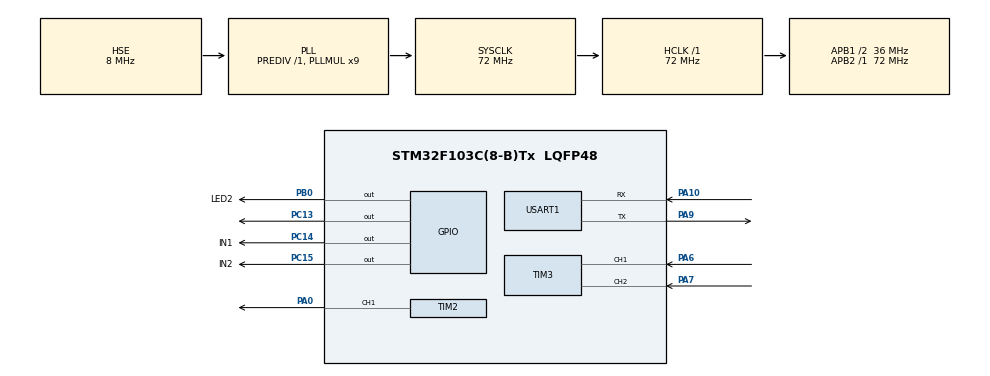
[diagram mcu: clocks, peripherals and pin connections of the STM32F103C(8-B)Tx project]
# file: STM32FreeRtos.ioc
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FREERTOS.BinarySemaphores01=ledSem,Dynamic,NULL,Depleted
FREERTOS.Mutexes01=uartMutex,Dynamic,NULL,Available
FREERTOS.Queues01=ledQueue,8,uint32_t,0,Dynamic,NULL,NULL
FREERTOS.Tasks01=defaultTask,1,128,StartDefaultTask,Default,NULL,Dynamic,NULL,NULL;Led2Task,0,128,StartLed2Task,Default,NULL,Dynamic,NULL,NULL
Mcu.Family=STM32F1
Mcu.Name=STM32F103C(8-B)Tx
Mcu.Package=LQFP48
NVIC.PriorityGroup=NVIC_PRIORITYGROUP_4
PA0-WKUP.Signal=S_TIM2_CH1_ETR
PA10.Mode=Asynchronous
PA10.Signal=USART1_RX
PA13.Mode=Serial_Wire
PA13.Signal=SYS_JTMS-SWDIO
PA14.Mode=Serial_Wire
PA14.Signal=SYS_JTCK-SWCLK
PA6.Signal=S_TIM3_CH1
PA7.Signal=S_TIM3_CH2
PA9.Mode=Asynchronous
PA9.Signal=USART1_TX
PB0.GPIO_Label=LED2
PB0.Signal=GPIO_Output
PC13-TAMPER-RTC.Signal=GPIO_Output
PC14-OSC32_IN.GPIO_Label=IN1
PC14-OSC32_IN.Signal=GPIO_Output
PC15-OSC32_OUT.GPIO_Label=IN2
PC15-OSC32_OUT.Signal=GPIO_Output
PD0-OSC_IN.Mode=HSE-External-Oscillator
PD0-OSC_IN.Signal=RCC_OSC_IN
PD1-OSC_OUT.Mode=HSE-External-Oscillator
PD1-OSC_OUT.Signal=RCC_OSC_OUT
ProjectManager.HeapSize=0x200
ProjectManager.StackSize=0x400
ProjectManager.TargetToolchain=MDK-ARM V5.32
RCC.AHBFreq_Value=72000000
RCC.APB1CLKDivider=RCC_HCLK_DIV2
RCC.APB1Freq_Value=36000000
RCC.APB1TimFreq_Value=72000000
RCC.APB2Freq_Value=72000000
RCC.APB2TimFreq_Value=72000000
RCC.HCLKFreq_Value=72000000
RCC.PLLMUL=RCC_PLL_MUL9
RCC.PLLSourceVirtual=RCC_PLLSOURCE_HSE
RCC.SYSCLKFreq_VALUE=72000000
RCC.SYSCLKSource=RCC_SYSCLKSOURCE_PLLCLK
RCC.USBFreq_Value=72000000
SH.S_TIM2_CH1_ETR.0=TIM2_CH1,PWM Generation1 CH1
SH.S_TIM3_CH1.0=TIM3_CH1,Encoder_Interface
SH.S_TIM3_CH2.0=TIM3_CH2,Encoder_Interface
TIM2.Channel-PWM\ Generation1\ CH1=TIM_CHANNEL_1
TIM2.Period=449
TIM2.Prescaler=7
TIM2.Pulse-PWM\ Generation1\ CH1=500
TIM3.EncoderMode=TIM_ENCODERMODE_TI12
USART1.VirtualMode=VM_ASYNC
VP_FREERTOS_VS_CMSIS_V1.Mode=CMSIS_V1
VP_TIM2_VS_ClockSourceINT.Mode=Internal
board=custom

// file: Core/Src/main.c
/* USER CODE BEGIN Header */
/**
  ******************************************************************************
  * @file           : main.c
  * @brief          : Main program body
  ******************************************************************************
  * @attention
  *
  * Copyright (c) 2026 STMicroelectronics.
  * All rights reserved.
  *
  * This software is licensed under terms that can be found in the LICENSE file
  * in the root directory of this software component.
  * If no LICENSE file comes with this software, it is provided AS-IS.
  *
  ******************************************************************************
  */
/* USER CODE END Header */
#include "main.h"
#include "cmsis_os.h"
#include "tim.h"
#include "usart.h"
#include "gpio.h"

void SystemClock_Config(void);
void MX_FREERTOS_Init(void);

int main(void)
{

  /* MCU Configuration--------------------------------------------------------*/

  /* Reset of all peripherals, Initializes the Flash interface and the Systick. */
  HAL_Init();

  /* Configure the system clock */
  SystemClock_Config();

  /* Initialize all configured peripherals */
  MX_GPIO_Init();
  MX_USART1_UART_Init();
  MX_TIM2_Init();
  MX_TIM3_Init();

  /* Call init function for freertos objects (in cmsis_os2.c) */
  MX_FREERTOS_Init();

  /* Start scheduler */
  osKernelStart();

  /* We should never get here as control is now taken by the scheduler */

  /* Infinite loop */
  while (1)
  {

    /* USER CODE BEGIN 3 */
    HAL_GPIO_TogglePin(GPIOC,GPIO_PIN_13); //电平置反
    HAL_Delay(500);
  }
  /* USER CODE END 3 */
}

void SystemClock_Config(void)
{
  RCC_OscInitTypeDef RCC_OscInitStruct = {0};
  RCC_ClkInitTypeDef RCC_ClkInitStruct = {0};

  /** Initializes the RCC Oscillators according to the specified parameters
  * in the RCC_OscInitTypeDef structure.
  */
  RCC_OscInitStruct.OscillatorType = RCC_OSCILLATORTYPE_HSE;
  RCC_OscInitStruct.HSEState = RCC_HSE_ON;
  RCC_OscInitStruct.HSEPredivValue = RCC_HSE_PREDIV_DIV1;
  RCC_OscInitStruct.HSIState = RCC_HSI_ON;
  RCC_OscInitStruct.PLL.PLLState = RCC_PLL_ON;
  RCC_OscInitStruct.PLL.PLLSource = RCC_PLLSOURCE_HSE;
  RCC_OscInitStruct.PLL.PLLMUL = RCC_PLL_MUL9;
  if (HAL_RCC_OscConfig(&RCC_OscInitStruct) != HAL_OK)
  {
    Error_Handler();
  }

  /** Initializes the CPU, AHB and APB buses clocks
  */
  RCC_ClkInitStruct.ClockType = RCC_CLOCKTYPE_HCLK|RCC_CLOCKTYPE_SYSCLK
                              |RCC_CLOCKTYPE_PCLK1|RCC_CLOCKTYPE_PCLK2;
  RCC_ClkInitStruct.SYSCLKSource = RCC_SYSCLKSOURCE_PLLCLK;
  RCC_ClkInitStruct.AHBCLKDivider = RCC_SYSCLK_DIV1;
  RCC_ClkInitStruct.APB1CLKDivider = RCC_HCLK_DIV2;
  RCC_ClkInitStruct.APB2CLKDivider = RCC_HCLK_DIV1;

  if (HAL_RCC_ClockConfig(&RCC_ClkInitStruct, FLASH_LATENCY_2) != HAL_OK)
  {
    Error_Handler();
  }
}

void Error_Handler(void)
{
  __disable_irq();
  while (1)
  {
  }
}

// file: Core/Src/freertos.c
/* USER CODE BEGIN Header */
/**
  ******************************************************************************
  * File Name          : freertos.c
  * Description        : Code for freertos applications
  ******************************************************************************
  * @attention
  *
  * Copyright (c) 2026 STMicroelectronics.
  * All rights reserved.
  *
  * This software is licensed under terms that can be found in the LICENSE file
  * in the root directory of this software component.
  * If no LICENSE file comes with this software, it is provided AS-IS.
  *
  ******************************************************************************
  */
/* USER CODE END Header */

#include "FreeRTOS.h"
#include "task.h"
#include "main.h"
#include "cmsis_os.h"

/* USER CODE BEGIN Includes */
#include "usart.h"
#include "tim.h"
#include <stdio.h>
#include <string.h>
/* USER CODE END Includes */

/* USER CODE BEGIN PD */
//电机控制参数
#define ENCODER_CPR 2496  //编码器输出轴每圈计数（13PRR*4倍频*48减速比）
#define SAMPLING_MS 5     //采样周期5ms

#define RPM_FACTOR (60000/SAMPLING_MS)  //转圈系数 = 60000/采样ms

#define PWM_PERIOD 449  //TIM计数上限（占空比0-449）
#define PWM_BASE 350    //速度环前馈base

#define SPEED_LIMIT 200.0f    //位置环输出限幅|200rpm|
#define INTEGRAL_LIMIT 150.0f //积分限幅（防饱和）

#define POS_KP 40.0f      //位置环P(误差1°-40rpm)
#define POS_DEADBAND 5.0f //位置死区|5|
#define POS_KD  0.3f   // 位置环 D 系数

#define SPEED_KP 0.5f   //速度环P
#define SPEED_KI 0.005f //速度环I

/* USER CODE END PD */

osThreadId defaultTaskHandle;
osThreadId Led2TaskHandle;
osMessageQId ledQueueHandle;
osMutexId uartMutexHandle;
osSemaphoreId ledSemHandle;

/* USER CODE BEGIN FunctionPrototypes */
static float   pos_control(float pos_error, float rpm, int *stop);
static int32_t speed_control(float target_speed, float rpm, float *integral);
static void    motor_set_direction(int forward);
/* USER CODE END FunctionPrototypes */

void StartDefaultTask(void const * argument);
void StartLed2Task(void const * argument);

void MX_FREERTOS_Init(void); /* (MISRA C 2004 rule 8.1) */

/* GetIdleTaskMemory prototype (linked to static allocation support) */
void vApplicationGetIdleTaskMemory( StaticTask_t **ppxIdleTaskTCBBuffer, StackType_t **ppxIdleTaskStackBuffer, uint32_t *pulIdleTaskStackSize );

/* USER CODE BEGIN GET_IDLE_TASK_MEMORY */
static StaticTask_t xIdleTaskTCBBuffer;
static StackType_t xIdleStack[configMINIMAL_STACK_SIZE];

void vApplicationGetIdleTaskMemory( StaticTask_t **ppxIdleTaskTCBBuffer, StackType_t **ppxIdleTaskStackBuffer, uint32_t *pulIdleTaskStackSize )
{
  *ppxIdleTaskTCBBuffer = &xIdleTaskTCBBuffer;
  *ppxIdleTaskStackBuffer = &xIdleStack[0];
  *pulIdleTaskStackSize = configMINIMAL_STACK_SIZE;
  /* place for user code */
}
/* USER CODE END GET_IDLE_TASK_MEMORY */

void MX_FREERTOS_Init(void) {
  /* Create the mutex(es) */
  /* definition and creation of uartMutex */
  osMutexDef(uartMutex);
  uartMutexHandle = osMutexCreate(osMutex(uartMutex));

  /* Create the semaphores(s) */
  /* definition and creation of ledSem */
  osSemaphoreDef(ledSem);
  ledSemHandle = osSemaphoreCreate(osSemaphore(ledSem), 1);

  /* Create the queue(s) */
  /* definition and creation of ledQueue */
  osMessageQDef(ledQueue, 8, uint32_t);
  ledQueueHandle = osMessageCreate(osMessageQ(ledQueue), NULL);

  /* Create the thread(s) */
  /* definition and creation of defaultTask */
  osThreadDef(defaultTask, StartDefaultTask, osPriorityAboveNormal, 0, 128);
  defaultTaskHandle = osThreadCreate(osThread(defaultTask), NULL);

  /* definition and creation of Led2Task */
  osThreadDef(Led2Task, StartLed2Task, osPriorityNormal, 0, 128);
  Led2TaskHandle = osThreadCreate(osThread(Led2Task), NULL);

}

void StartDefaultTask(void const * argument)
{
  /* USER CODE BEGIN StartDefaultTask */

    /* ===== 位置环（外环）变量：管「转到哪」 ===== */
    float target_angle  = 90.0f;   // 目标角度：让电机转到 90°（改这里测不同角度）
    float current_angle = 0.0f;    // 当前角度：编码器算出来的「现在在哪」
    float pos_error     = 0.0f;    // 位置误差 = 目标 − 当前
    float target_speed  = 0.0f;    // 位置环输出：目标速度

    /* ===== 速度环（内环 PI）变量：管「跑多快」 ===== */
    float integral = 0.0f;   // 积分（存钱罐），跨采样保持，传给 speed_control
    int32_t output = 0;      // 最终占空比（0~449）
    int stop = 0;            // 1 = 该停（死区内）

    /* ===== 编码器 ===== */
    int32_t cnt = 0, last_cnt = 0, delta = 0;  // 本次计数 / 上次计数 / 两次之差
    int32_t rpm = 0;        // 转速（有正负：正=正转，负=反转）
    int32_t pos_count = 0;  // 累计编码器计数

    HAL_TIM_PWM_Start(&htim2, TIM_CHANNEL_1);       // 启动 PWM
    HAL_TIM_Encoder_Start(&htim3, TIM_CHANNEL_ALL); // 启动编码器
    last_cnt = __HAL_TIM_GET_COUNTER(&htim3);       // 记下起始位置（当作 0°）
    uint32_t prevTick = osKernelSysTick();

    for(;;)
    {
      // ① 读编码器：现在在哪 + 转多快
      cnt = __HAL_TIM_GET_COUNTER(&htim3);
      delta = (int16_t)(cnt - last_cnt);
      last_cnt = cnt;
      rpm = delta * RPM_FACTOR / ENCODER_CPR;
      pos_count += delta;
      current_angle = pos_count * 360.0f / ENCODER_CPR;

      // ② 位置环：误差 → 目标速度（顺便决定"该不该停"）
      pos_error = target_angle - current_angle;
      target_speed = pos_control(pos_error, rpm, &stop);

      // ③ 速度环 + 方向：往哪转、踩多深
      if (stop)
      {
        HAL_GPIO_WritePin(IN1_GPIO_Port, IN1_Pin, GPIO_PIN_RESET);   // 双低 = 短路刹车
        HAL_GPIO_WritePin(IN2_GPIO_Port, IN2_Pin, GPIO_PIN_RESET);
        integral = 0;              // 停时清空积分
        output = PWM_PERIOD;       // 100% 占空比 = 短路刹车
      }
      else
      {
        motor_set_direction(target_speed > 0);                 // 先定方向
        output = speed_control(target_speed, rpm, &integral);  // 再算占空比
      }

      // ④ 输出 + 上报
      __HAL_TIM_SET_COMPARE(&htim2, TIM_CHANNEL_1, output);
      // 打包：高16位=角度×10，低16位=转速
      {
      int16_t angle_x10 = (int16_t)(current_angle * 10.0f);
      uint32_t msg = ((uint32_t)(uint16_t)angle_x10 << 16) | (uint16_t)(int16_t)rpm;
      osMessagePut(ledQueueHandle,msg,0);
      }
      osDelayUntil(&prevTick, SAMPLING_MS);
    }
  /* USER CODE END StartDefaultTask */
}

void StartLed2Task(void const * argument)
{
  /* USER CODE BEGIN StartLed2Task */
  char buf[80];  // 打印用的临时字符串
  osEvent evt;  // 「信封」：evt.status 判断有没有真收到，evt.value.v 装着数据
  int16_t r;   // 转回来的转速（有符号）

  /* Infinite loop */
  for(;;)
  {
    evt = osMessageGet(ledQueueHandle,osWaitForever);  // 没数据时，等信封送来
    if(evt.status == osEventMessage){  // 真收到数据才往下
      uint32_t v = evt.value.v;
      int16_t angle_x10 = (int16_t)(v >> 16);  //高16位角度x10 右移16位变成低十六位，此时高十六位清零。
      r = (int16_t)(v & 0xFFFF);  // 低16位转速 被 与门 保留低十六位，此时高十六位清零。
      sprintf(buf,"A=%d R=%d\r\n",angle_x10,r);
      HAL_UART_Transmit(&huart1,(uint8_t*)buf,strlen(buf),100);

    }

  }
  /* USER CODE END StartLed2Task */
}

/* USER CODE BEGIN Application */

/* ===== 位置环：角度误差 → 目标速度（P+D，并报告"该不该停"） ===== */
static float pos_control(float pos_error, float rpm, int *stop)
{
    float target_speed = POS_KP * pos_error - POS_KD * rpm;   // P项追目标 + D项(rpm)阻尼

    if (target_speed >  SPEED_LIMIT) target_speed =  SPEED_LIMIT;   // 限幅 ±200
    if (target_speed < -SPEED_LIMIT) target_speed = -SPEED_LIMIT;

    if (pos_error < POS_DEADBAND && pos_error > -POS_DEADBAND) {    // 死区 ±5°
        target_speed = 0;
        *stop = 1;
    } else {
        *stop = 0;
    }
    return target_speed;
}

/* ===== 速度环：目标速度 → 占空比（integral 跨调用保持，用指针传） ===== */
static int32_t speed_control(float target_speed, float rpm, float *integral)
{
    float rpm_mag     = (rpm > 0) ? rpm : -rpm;                           // 实际转速大小
    float target_mag  = (target_speed > 0) ? target_speed : -target_speed; // 目标速度大小
    float speed_error = target_mag - rpm_mag;                              // 误差

    *integral += speed_error;                                             // 积分累加
    if (*integral >  INTEGRAL_LIMIT) *integral =  INTEGRAL_LIMIT;         // 限幅防饱和
    if (*integral < -INTEGRAL_LIMIT) *integral = -INTEGRAL_LIMIT;

    int32_t output = PWM_BASE + (int32_t)(SPEED_KP * speed_error + SPEED_KI * (*integral));
    if (output > PWM_PERIOD) output = PWM_PERIOD;                         // 占空比限幅
    if (output < 0)          output = 0;
    return output;
}

/* ===== 方向脚：按 L298N 真值表设正转/反转 ===== */
static void motor_set_direction(int forward)
{
    if (forward) {
        HAL_GPIO_WritePin(IN1_GPIO_Port, IN1_Pin, GPIO_PIN_SET);     // 正转
        HAL_GPIO_WritePin(IN2_GPIO_Port, IN2_Pin, GPIO_PIN_RESET);
    } else {
        HAL_GPIO_WritePin(IN1_GPIO_Port, IN1_Pin, GPIO_PIN_RESET);   // 反转
        HAL_GPIO_WritePin(IN2_GPIO_Port, IN2_Pin, GPIO_PIN_SET);
    }
}

/* USER CODE END Application */
